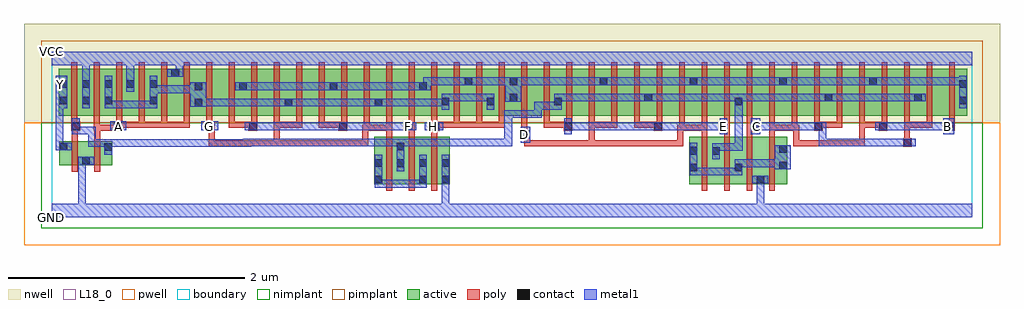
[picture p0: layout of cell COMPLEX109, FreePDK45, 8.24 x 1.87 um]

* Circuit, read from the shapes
.subckt COMPLEX109 A B C D E F G GND H VCC Y
M1 GND n1 Y VSUBS nfet w=0.2u l=0.05u
M2 n1 A GND VSUBS nfet w=0.2u l=0.05u
M3 n1 G n2 VSUBS nfet w=0.4u l=0.05u
M4 n2 F n1 VSUBS nfet w=0.4u l=0.05u
M5 GND H n2 VSUBS nfet w=0.4u l=0.05u
M6 n1 D n3 VSUBS nfet w=0.4u l=0.05u
M7 n3 E n1 VSUBS nfet w=0.4u l=0.05u
M8 GND C n3 VSUBS nfet w=0.4u l=0.05u
M9 n3 B GND VSUBS nfet w=0.4u l=0.05u
M10 VCC n1 Y n4 pfet w=0.4u l=0.05u
M11 n5 A VCC n4 pfet w=0.4u l=0.05u m=5
M12 n6 G n5 n4 pfet w=0.4u l=0.05u
M13 n7 F n6 n4 pfet w=0.4u l=0.05u
M14 n8 F n7 n4 pfet w=0.4u l=0.05u
M15 n5 G n8 n4 pfet w=0.4u l=0.05u
M16 n9 G n5 n4 pfet w=0.4u l=0.05u
M17 n7 F n9 n4 pfet w=0.4u l=0.05u
M18 n10 F n7 n4 pfet w=0.4u l=0.05u
M19 n5 G n10 n4 pfet w=0.4u l=0.05u
M20 n11 G n5 n4 pfet w=0.4u l=0.05u
M21 n7 F n11 n4 pfet w=0.4u l=0.05u
M22 n5 H n7 n4 pfet w=0.4u l=0.05u m=4
M23 n12 D n7 n4 pfet w=0.4u l=0.05u
M24 n1 E n12 n4 pfet w=0.4u l=0.05u
M25 n13 E n1 n4 pfet w=0.4u l=0.05u
M26 n7 D n13 n4 pfet w=0.4u l=0.05u
M27 n14 D n7 n4 pfet w=0.4u l=0.05u
M28 n1 E n14 n4 pfet w=0.4u l=0.05u
M29 n15 E n1 n4 pfet w=0.4u l=0.05u
M30 n7 D n15 n4 pfet w=0.4u l=0.05u
M31 n16 D n7 n4 pfet w=0.4u l=0.05u
M32 n1 E n16 n4 pfet w=0.4u l=0.05u
M33 n17 C n1 n4 pfet w=0.4u l=0.05u
M34 n7 B n17 n4 pfet w=0.4u l=0.05u
M35 n18 B n7 n4 pfet w=0.4u l=0.05u
M36 n1 C n18 n4 pfet w=0.4u l=0.05u
M37 n19 C n1 n4 pfet w=0.4u l=0.05u
M38 n7 B n19 n4 pfet w=0.4u l=0.05u
M39 n20 B n7 n4 pfet w=0.4u l=0.05u
M40 n1 C n20 n4 pfet w=0.4u l=0.05u
M41 n21 C n1 n4 pfet w=0.4u l=0.05u
M42 n7 B n21 n4 pfet w=0.4u l=0.05u
.ends

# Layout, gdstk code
import gdstk
lib = gdstk.Library(unit=1e-6, precision=1e-09)
def R(c, l, rs):  # rectangles x0, y0, x1, y1
    for r in rs: c.add(gdstk.rectangle(r[:2], r[2:], *l))
def A(c, l, x, y, w, h, nx, ny, dx, dy):  # array of equal rectangles
    R(c, l, [(x+i*dx, y+j*dy, x+i*dx+w, y+j*dy+h) for i in range(nx) for j in range(ny)])
active = (1, 0)
pwell = (2, 0)
nwell = (3, 0)
nimplant = (4, 0)
pimplant = (5, 0)
poly = (9, 0)
contact = (10, 0)
metal1 = (11, 0)
L18_0 = (18, 0)
boundary = (235, 0)

complex109 = lib.new_cell('COMPLEX109')
A(complex109, active, 0.06, 0.857, 0.075, 0.343, 4, 1, 0.38, 0)
A(complex109, active, 1.805, 0.857, 0.23, 0.4, 3, 1, 0.38, 0)
A(complex109, active, 1.96, 0.857, 0.225, 0.4, 3, 1, 0.38, 0)
A(complex109, active, 6.135, 0.857, 0.075, 0.343, 3, 1, 0.76, 0)
A(complex109, active, 6.745, 0.857, 0.225, 0.4, 3, 1, 0.38, 0)
R(complex109, active, [(2.72,0.282,2.98,0.682), (2.72,0.282,2.795,0.68), (2.905,0.282,3.17,0.682), (3.095,0.282,3.36,0.682), (3.095,0.282,3.17,0.597), (3.285,0.282,3.36,0.597), (5.38,0.282,5.455,0.682), (5.38,0.282,5.645,0.682), (5.57,0.282,5.835,0.682), (5.76,0.282,5.835,0.492), (5.76,0.282,6.02,0.682), (5.945,0.282,6.21,0.682), (5.945,0.282,6.02,0.492), (6.135,0.282,6.21,0.682), (2.905,0.345,2.98,0.635), (5.57,0.345,5.645,0.597), (0.062,0.442,0.137,0.642), (0.062,0.442,0.327,0.642), (0.252,0.442,0.512,0.642), (0.252,0.442,0.327,0.517), (0.437,0.442,0.512,0.642), (0.06,0.857,0.325,1.257), (0.25,0.857,0.515,1.257), (0.25,0.857,0.325,1.255), (0.44,0.857,0.7,1.257), (0.625,0.857,0.7,1.255), (0.625,0.857,0.895,1.257), (0.82,0.857,1.08,1.257), (1.005,0.857,1.08,1.257), (1.005,0.857,1.275,1.257), (1.2,0.857,1.425,1.257), (1.425,0.857,1.652,1.257), (1.577,0.857,1.652,1.2), (1.577,0.857,1.805,1.257), (1.96,0.857,2.035,1.07), (2.34,0.857,2.415,1.2), (2.72,0.857,2.795,1.07), (2.945,0.857,3.17,1.257), (3.095,0.857,3.36,1.257), (3.095,0.857,3.17,1.2), (3.285,0.857,3.36,1.07), (3.285,0.857,3.555,1.257), (3.48,0.857,3.74,1.257), (3.48,0.857,3.555,1.2), (3.665,0.857,3.74,1.07), (3.665,0.857,3.935,1.257), (3.86,0.857,3.935,1.2), (3.86,0.857,4.085,1.257), (4.085,0.857,4.31,1.257), (4.235,0.857,4.465,1.257), (4.235,0.857,4.31,1.07), (4.465,0.857,4.695,1.257), (4.62,0.857,4.845,1.257), (4.845,0.857,5.072,1.257), (4.997,0.857,5.072,1.07), (4.997,0.857,5.225,1.257), (5.225,0.857,5.455,1.257), (5.38,0.857,5.455,1.2), (5.38,0.857,5.605,1.257), (5.605,0.857,5.835,1.257), (5.76,0.857,5.985,1.257), (5.76,0.857,5.835,1.07), (5.985,0.857,6.21,1.257), (6.135,0.857,6.365,1.257), (6.365,0.857,6.595,1.257), (6.52,0.857,6.745,1.257), (6.52,0.857,6.595,1.07), (6.895,0.857,7.125,1.257), (7.275,0.857,7.505,1.257), (7.275,0.857,7.35,1.07), (4.62,0.907,4.695,1.2)])
R(complex109, pwell, [(-0.235,-0.235,8.005,0.8)])
R(complex109, nwell, [(-0.235,0.8,8.005,1.635)])
R(complex109, nimplant, [(-0.09,-0.09,7.86,0.8)])
R(complex109, pimplant, [(-0.09,0.8,7.86,1.49)])
A(complex109, poly, 2.825, 0.227, 0.05, 0.51, 3, 1, 0.19, 0)
A(complex109, poly, 5.485, 0.227, 0.05, 0.51, 4, 1, 0.19, 0)
A(complex109, poly, 2.825, 0.687, 0.05, 0.095, 3, 1, 0.19, 0)
A(complex109, poly, 5.485, 0.687, 0.05, 0.095, 4, 1, 0.19, 0)
A(complex109, poly, 0.545, 0.757, 0.05, 0.095, 11, 1, 0.19, 0)
A(complex109, poly, 1.875, 0.757, 0.05, 0.05, 3, 1, 0.19, 0)
A(complex109, poly, 3.015, 0.757, 0.05, 0.095, 5, 1, 0.19, 0)
A(complex109, poly, 4.155, 0.757, 0.05, 0.095, 6, 1, 0.19, 0)
A(complex109, poly, 6.435, 0.757, 0.05, 0.095, 7, 1, 0.19, 0)
A(complex109, poly, 0.165, 0.802, 0.05, 0.51, 40, 1, 0.19, 0)
R(complex109, poly, [(0.167,0.387,0.217,0.697), (0.357,0.387,0.407,0.697), (7.187,0.595,7.262,0.67), (1.325,0.6,1.375,0.65), (1.325,0.6,1.375,0.65), (1.325,0.6,1.375,0.65), (1.325,0.6,1.375,0.65), (1.325,0.6,1.375,0.65), (1.325,0.6,1.375,0.782), (1.325,0.6,1.577,0.65), (1.527,0.6,1.577,0.65), (1.527,0.6,1.577,0.65), (1.527,0.6,1.577,0.65), (1.527,0.6,1.792,0.65), (1.742,0.6,1.792,0.65), (1.742,0.6,1.792,0.65), (1.742,0.6,1.792,0.65), (1.742,0.6,1.925,0.65), (1.875,0.6,1.925,0.65), (1.875,0.6,1.925,0.65), (1.875,0.6,1.925,0.65), (1.875,0.6,1.925,0.65), (1.875,0.6,1.925,0.65), (1.875,0.6,1.925,0.807), (1.875,0.6,2.057,0.65), (2.007,0.6,2.057,0.65), (2.007,0.6,2.057,0.65), (2.007,0.6,2.057,0.65), (2.007,0.6,2.337,0.65), (2.287,0.6,2.337,0.65), (2.287,0.6,2.337,0.65), (2.287,0.6,2.337,0.65), (2.287,0.6,2.537,0.65), (2.487,0.6,2.537,0.65), (2.487,0.6,2.67,0.65), (2.62,0.6,2.67,0.65), (2.62,0.6,2.67,0.65), (2.62,0.6,2.67,0.65), (2.62,0.6,2.67,0.65), (2.62,0.6,2.67,0.65), (2.62,0.6,2.67,0.782), (3.99,0.6,4.04,0.65), (3.99,0.6,4.04,0.65), (3.99,0.6,4.04,0.65), (3.99,0.6,4.04,0.65), (3.99,0.6,4.04,0.65), (3.99,0.6,4.237,0.65), (3.99,0.6,4.04,0.712), (4.187,0.6,4.237,0.65), (4.187,0.6,4.237,0.65), (4.187,0.6,4.237,0.65), (4.187,0.6,4.452,0.65), (4.402,0.6,4.452,0.65), (4.402,0.6,4.585,0.65), (4.535,0.6,4.585,0.65), (4.535,0.6,4.585,0.65), (4.535,0.6,4.585,0.65), (4.535,0.6,4.585,0.65), (4.535,0.6,4.585,0.65), (4.535,0.6,4.585,0.807), (4.535,0.6,4.717,0.65), (4.667,0.6,4.907,0.65), (4.667,0.6,4.717,0.65), (4.667,0.6,4.717,0.65), (4.667,0.6,4.717,0.65), (4.857,0.6,5.097,0.65), (4.857,0.6,4.907,0.65), (4.857,0.6,4.907,0.65), (4.857,0.6,4.907,0.65), (5.047,0.6,5.097,0.65), (5.047,0.6,5.097,0.65), (5.047,0.6,5.097,0.65), (5.047,0.6,5.33,0.65), (5.28,0.6,5.33,0.65), (5.28,0.6,5.33,0.65), (5.28,0.6,5.33,0.65), (5.28,0.6,5.33,0.782), (6.26,0.6,6.31,0.65), (6.26,0.6,6.31,0.65), (6.26,0.6,6.31,0.65), (6.26,0.6,6.542,0.65), (6.26,0.6,6.31,0.782), (6.492,0.6,6.732,0.65), (6.492,0.6,6.542,0.65), (6.492,0.6,6.542,0.65), (6.492,0.6,6.542,0.65), (6.682,0.6,6.732,0.65), (6.682,0.6,6.732,0.65), (6.682,0.6,6.732,0.65), (6.682,0.6,6.865,0.65), (6.815,0.6,6.865,0.65), (6.815,0.6,6.865,0.65), (6.815,0.6,6.865,0.65), (6.815,0.6,6.865,0.807), (7.195,0.62,7.245,0.807), (0.167,0.647,0.217,0.782), (0.357,0.647,0.407,0.782), (3.965,0.662,4.04,0.737), (3.965,0.687,4.015,0.852), (0.165,0.732,0.24,0.807), (0.355,0.732,0.405,0.852), (0.355,0.732,0.407,0.782), (0.357,0.732,0.407,0.782), (0.357,0.732,0.407,0.782), (0.357,0.732,0.572,0.782), (0.522,0.732,0.597,0.807), (1.3,0.732,1.375,0.807), (1.66,0.732,1.735,0.807), (2.42,0.732,2.495,0.807), (2.62,0.732,2.685,0.782), (2.635,0.732,2.875,0.782), (2.635,0.732,2.685,0.852), (2.825,0.732,2.875,0.782), (2.825,0.732,2.875,0.782), (2.825,0.732,2.875,0.782), (2.825,0.732,2.875,0.852), (2.972,0.732,3.065,0.807), (3.2,0.732,3.275,0.807), (4.32,0.732,4.395,0.807), (5.08,0.732,5.155,0.807), (5.28,0.732,5.33,0.782), (5.28,0.732,5.33,0.782), (5.28,0.732,5.345,0.782), (5.295,0.732,5.535,0.782), (5.295,0.732,5.345,0.852), (5.485,0.732,5.535,0.782), (5.485,0.732,5.535,0.782), (5.485,0.732,5.535,0.782), (5.485,0.732,5.535,0.852), (5.632,0.732,5.725,0.807), (5.865,0.732,5.972,0.807), (6.055,0.732,6.295,0.782), (6.055,0.732,6.105,0.782), (6.055,0.732,6.105,0.782), (6.055,0.732,6.105,0.782), (6.055,0.732,6.105,0.852), (6.245,0.732,6.295,0.852), (6.245,0.732,6.31,0.782), (6.26,0.732,6.31,0.782), (6.26,0.732,6.31,0.782), (6.435,0.732,6.51,0.807), (6.98,0.732,7.055,0.807), (7.55,0.732,7.625,0.807), (0.165,0.757,0.215,0.852), (0.547,0.757,0.597,0.807), (0.547,0.757,0.597,0.807), (0.547,0.757,0.785,0.807), (0.735,0.757,0.975,0.807), (0.735,0.757,0.785,0.807), (0.925,0.757,1.165,0.807), (0.925,0.757,0.975,0.807), (0.925,0.757,0.975,0.807), (0.925,0.757,0.975,0.807), (1.115,0.757,1.165,0.807), (1.115,0.757,1.165,0.807), (1.115,0.757,1.165,0.807), (1.495,0.757,1.545,0.807), (1.495,0.757,1.545,0.807), (1.495,0.757,1.545,0.807), (1.495,0.757,1.71,0.807), (1.875,0.757,2.115,0.807), (1.875,0.757,1.925,0.807), (1.875,0.757,1.925,0.807), (2.255,0.757,2.305,0.807), (2.255,0.757,2.305,0.807), (2.255,0.757,2.47,0.807), (3.225,0.757,3.275,0.807), (3.225,0.757,3.275,0.807), (3.225,0.757,3.445,0.807), (3.395,0.757,3.635,0.807), (3.395,0.757,3.445,0.807), (3.585,0.757,3.825,0.807), (3.585,0.757,3.635,0.807), (3.585,0.757,3.635,0.807), (3.585,0.757,3.635,0.807), (3.775,0.757,3.825,0.807), (3.775,0.757,3.825,0.807), (3.775,0.757,3.825,0.807), (4.155,0.757,4.205,0.807), (4.155,0.757,4.205,0.807), (4.155,0.757,4.205,0.807), (4.155,0.757,4.37,0.807), (4.535,0.757,4.775,0.807), (4.535,0.757,4.585,0.807), (4.725,0.757,4.775,0.807), (4.725,0.757,4.775,0.807), (4.725,0.757,4.775,0.807), (4.915,0.757,4.965,0.807), (4.915,0.757,5.13,0.807), (5.08,0.757,5.13,0.807), (5.08,0.757,5.13,0.807), (5.675,0.757,5.725,0.852), (5.865,0.757,5.915,0.852), (6.46,0.757,6.51,0.807), (6.46,0.757,6.51,0.807), (6.46,0.757,6.675,0.807), (6.625,0.757,6.675,0.807), (6.815,0.757,6.865,0.807), (6.815,0.757,7.03,0.807), (6.98,0.757,7.03,0.807), (6.98,0.757,7.03,0.807), (7.195,0.757,7.435,0.807), (7.195,0.757,7.245,0.807), (7.195,0.757,7.245,0.807), (7.195,0.757,7.245,0.807), (7.195,0.757,7.245,0.807), (7.195,0.757,7.245,0.807), (7.385,0.757,7.435,0.807)])
A(complex109, contact, 0.065, 0.955, 0.065, 0.065, 3, 2, 0.19, 0.14)
A(complex109, contact, 3.865, 1.117, 0.065, 0.065, 3, 1, 0.76, 0)
R(complex109, contact, [(2.725,0.287,2.79,0.352), (3.1,0.287,3.165,0.352), (3.29,0.287,3.355,0.352), (5.95,0.287,6.015,0.352), (5.385,0.39,5.45,0.455), (5.765,0.39,5.83,0.455), (6.14,0.405,6.205,0.47), (2.91,0.425,2.975,0.49), (2.725,0.427,2.79,0.492), (3.1,0.427,3.165,0.492), (3.29,0.427,3.355,0.492), (0.257,0.447,0.322,0.512), (5.575,0.527,5.64,0.592), (5.385,0.53,5.45,0.595), (6.14,0.545,6.205,0.61), (0.442,0.562,0.507,0.627), (0.067,0.565,0.132,0.63), (2.91,0.565,2.975,0.63), (7.192,0.6,7.257,0.665), (3.97,0.667,4.035,0.732), (0.17,0.737,0.235,0.802), (0.527,0.737,0.592,0.802), (1.305,0.737,1.37,0.802), (1.665,0.737,1.73,0.802), (2.425,0.737,2.49,0.802), (2.977,0.737,3.042,0.802), (3.205,0.737,3.27,0.802), (4.325,0.737,4.39,0.802), (5.085,0.737,5.15,0.802), (5.637,0.737,5.702,0.802), (5.902,0.737,5.967,0.802), (6.44,0.737,6.505,0.802), (6.985,0.737,7.05,0.802), (7.555,0.737,7.62,0.802), (1.205,0.935,1.27,1), (1.965,0.937,2.03,1.002), (2.725,0.937,2.79,1.002), (3.29,0.945,3.355,1.01), (3.67,0.945,3.735,1.01), (4.24,0.945,4.305,1.01), (5.765,0.945,5.83,1.01), (0.825,0.955,0.89,1.02), (7.66,0.955,7.725,1.02), (3.865,0.977,3.93,1.042), (5.002,0.98,5.067,1.045), (6.525,0.98,6.59,1.045), (7.28,0.98,7.345,1.045), (1.205,1.075,1.27,1.14), (1.582,1.075,1.647,1.14), (2.345,1.075,2.41,1.14), (3.1,1.075,3.165,1.14), (0.63,1.095,0.695,1.16), (0.825,1.095,0.89,1.16), (7.66,1.095,7.725,1.16), (3.485,1.117,3.55,1.182), (6.14,1.117,6.205,1.182), (6.9,1.117,6.965,1.182), (1.01,1.187,1.075,1.252)])
R(complex109, metal1, [(0,0,7.77,0.115), (0.222,0.05,0.287,0.115), (0.222,0.05,0.287,0.115), (0.222,0.05,0.287,0.51), (3.29,0.05,3.355,0.115), (3.29,0.05,3.355,0.115), (3.29,0.05,3.355,0.115), (3.29,0.05,3.355,0.115), (3.29,0.05,3.355,0.317), (5.95,0.05,6.015,0.352), (2.725,0.252,2.79,0.527), (2.725,0.252,2.8,0.317), (2.735,0.252,2.8,0.317), (2.735,0.252,2.97,0.317), (2.905,0.252,2.97,0.317), (2.905,0.252,2.97,0.317), (2.905,0.252,2.97,0.317), (2.905,0.252,3.165,0.317), (3.1,0.252,3.165,0.527), (3.29,0.252,3.355,0.527), (5.915,0.287,6.05,0.352), (5.95,0.287,6.015,0.352), (5.95,0.287,6.015,0.352), (5.95,0.287,6.015,0.352), (5.95,0.287,6.015,0.352), (5.385,0.355,5.45,0.63), (5.385,0.355,5.485,0.42), (5.42,0.355,5.485,0.42), (5.42,0.355,5.622,0.42), (5.557,0.355,5.622,0.42), (5.557,0.355,5.622,0.42), (5.557,0.355,5.622,0.42), (5.557,0.355,5.83,0.42), (5.765,0.355,5.83,0.49), (2.91,0.39,2.975,0.665), (6.105,0.405,6.24,0.61), (5.765,0.425,5.915,0.49), (5.85,0.425,5.915,0.49), (5.85,0.425,5.97,0.49), (5.905,0.425,5.97,0.49), (5.905,0.425,6.17,0.49), (6.105,0.425,6.17,0.49), (6.105,0.425,6.17,0.49), (0.222,0.445,0.287,0.51), (0.222,0.445,0.287,0.51), (0.222,0.445,0.287,0.51), (0.222,0.445,0.287,0.51), (0.222,0.445,0.287,0.51), (0.222,0.445,0.287,0.51), (0.222,0.445,0.357,0.512), (5.575,0.492,5.64,0.627), (0.442,0.527,0.51,0.662), (5.575,0.562,5.64,0.627), (5.575,0.562,5.64,0.627), (5.575,0.562,5.832,0.627), (5.767,0.562,5.832,0.627), (5.767,0.562,5.832,0.627), (5.767,0.562,5.832,0.627), (5.767,0.562,5.832,0.975), (0.032,0.565,0.097,0.63), (0.032,0.565,0.097,0.63), (0.032,0.565,0.097,0.63), (0.032,0.565,0.097,0.63), (0.032,0.565,0.097,0.63), (0.032,0.565,0.097,0.63), (0.032,0.565,0.167,0.63), (0.032,0.565,0.097,0.985), (0.307,0.597,0.507,0.662), (0.307,0.597,0.372,0.767), (0.445,0.597,0.51,0.662), (0.445,0.597,0.51,0.662), (0.445,0.597,0.752,0.662), (0.687,0.597,0.752,0.662), (0.687,0.597,0.752,0.662), (0.687,0.597,0.752,0.662), (0.687,0.597,0.902,0.662), (0.837,0.597,0.902,0.662), (0.837,0.597,0.902,0.662), (0.837,0.597,0.902,0.662), (0.837,0.597,1.097,0.662), (1.032,0.597,1.097,0.662), (1.032,0.597,1.097,0.662), (1.032,0.597,1.097,0.662), (1.032,0.597,1.337,0.662), (1.272,0.597,1.337,0.662), (1.272,0.597,1.337,0.662), (1.272,0.597,1.337,0.662), (1.272,0.597,1.475,0.662), (1.41,0.597,1.475,0.662), (1.41,0.597,1.475,0.662), (1.41,0.597,1.475,0.662), (1.41,0.597,1.475,0.662), (1.41,0.597,1.475,0.662), (1.41,0.597,1.682,0.662), (1.617,0.597,1.682,0.665), (1.617,0.6,1.857,0.665), (1.792,0.6,1.857,0.665), (1.792,0.6,1.857,0.665), (1.792,0.6,1.857,0.665), (1.792,0.6,1.995,0.665), (1.93,0.6,1.995,0.665), (1.93,0.6,1.995,0.665), (1.93,0.6,1.995,0.665), (1.93,0.6,2.132,0.665), (2.067,0.6,2.132,0.665), (2.067,0.6,2.237,0.665), (2.172,0.6,2.237,0.665), (2.172,0.6,2.307,0.665), (2.242,0.6,2.307,0.665), (2.242,0.6,2.445,0.665), (2.38,0.6,2.445,0.665), (2.38,0.6,2.445,0.665), (2.38,0.6,2.445,0.665), (2.38,0.6,2.592,0.665), (2.527,0.6,2.592,0.665), (2.527,0.6,2.662,0.665), (2.597,0.6,2.662,0.665), (2.597,0.6,2.8,0.665), (2.735,0.6,2.8,0.665), (2.735,0.6,2.8,0.665), (2.735,0.6,2.8,0.665), (2.735,0.6,2.975,0.665), (2.91,0.6,2.975,0.665), (2.91,0.6,2.975,0.665), (2.91,0.6,3.115,0.665), (3.05,0.6,3.115,0.665), (3.05,0.6,3.115,0.665), (3.05,0.6,3.115,0.665), (3.05,0.6,3.355,0.665), (3.29,0.6,3.355,0.665), (3.29,0.6,3.355,0.665), (3.29,0.6,3.355,0.665), (3.29,0.6,3.492,0.665), (3.427,0.6,3.492,0.665), (3.427,0.6,3.492,0.665), (3.427,0.6,3.492,0.665), (3.427,0.6,3.722,0.665), (3.657,0.6,3.722,0.665), (3.657,0.6,3.722,0.665), (3.657,0.6,3.722,0.665), (3.657,0.6,3.885,0.665), (3.82,0.6,3.885,0.665), (3.82,0.6,3.885,0.665), (3.82,0.6,3.885,0.665), (3.82,0.6,3.885,0.905), (6.475,0.6,6.54,0.665), (6.475,0.6,6.692,0.665), (6.475,0.6,6.54,0.802), (6.627,0.6,6.692,0.665), (6.627,0.6,6.792,0.665), (6.727,0.6,6.792,0.665), (6.727,0.6,6.862,0.665), (6.797,0.6,6.862,0.665), (6.797,0.6,7.02,0.665), (6.955,0.6,7.02,0.665), (6.955,0.6,7.02,0.665), (6.955,0.6,7.02,0.665), (6.955,0.6,7.157,0.665), (7.092,0.6,7.157,0.665), (7.092,0.6,7.157,0.665), (7.092,0.6,7.157,0.665), (7.092,0.6,7.222,0.665), (7.157,0.6,7.292,0.665), (3.957,0.632,4.037,0.767), (0.17,0.702,0.235,0.837), (0.17,0.702,0.37,0.767), (0.305,0.702,0.37,0.767), (0.305,0.702,0.37,0.767), (0.305,0.702,0.37,0.767), (0.305,0.702,0.372,0.767), (4.325,0.702,4.39,0.837), (5.637,0.702,5.702,0.837), (5.902,0.702,5.982,0.837), (7.527,0.702,7.62,0.837), (0.492,0.735,0.627,0.812), (1.262,0.737,1.405,0.81), (1.63,0.737,1.765,0.802), (1.7,0.737,1.825,0.802), (1.76,0.737,1.825,0.802), (1.76,0.737,1.995,0.802), (1.93,0.737,1.995,0.802), (1.93,0.737,1.995,0.802), (1.93,0.737,1.995,0.802), (1.93,0.737,2.132,0.802), (2.067,0.737,2.132,0.802), (2.067,0.737,2.237,0.802), (2.172,0.737,2.237,0.802), (2.172,0.737,2.307,0.802), (2.242,0.737,2.307,0.802), (2.242,0.737,2.455,0.802), (2.39,0.737,2.455,0.802), (2.39,0.737,2.455,0.802), (2.39,0.737,2.525,0.802), (2.46,0.737,2.617,0.802), (2.552,0.737,2.617,0.802), (2.552,0.737,2.662,0.802), (2.597,0.737,2.662,0.802), (2.597,0.737,2.832,0.802), (2.767,0.737,2.832,0.802), (2.767,0.737,2.832,0.802), (2.767,0.737,2.832,0.802), (2.767,0.737,2.977,0.802), (2.912,0.737,2.977,0.802), (2.912,0.737,3.007,0.802), (2.942,0.737,3.077,0.802), (3.15,0.737,3.305,0.802), (4.325,0.737,4.482,0.802), (4.417,0.737,4.482,0.802), (4.417,0.737,4.62,0.802), (4.555,0.737,4.62,0.802), (4.555,0.737,4.62,0.802), (4.555,0.737,4.62,0.802), (4.555,0.737,4.757,0.802), (4.692,0.737,4.757,0.802), (4.692,0.737,4.895,0.802), (4.83,0.737,4.895,0.802), (4.83,0.737,4.895,0.802), (4.83,0.737,4.895,0.802), (4.83,0.737,5.115,0.802), (5.05,0.737,5.115,0.802), (5.05,0.737,5.115,0.802), (5.05,0.737,5.185,0.802), (5.12,0.737,5.252,0.802), (5.187,0.737,5.252,0.802), (5.187,0.737,5.347,0.802), (5.282,0.737,5.347,0.802), (5.282,0.737,5.39,0.802), (5.325,0.737,5.39,0.802), (5.325,0.737,5.485,0.802), (5.42,0.737,5.485,0.802), (5.42,0.737,5.622,0.802), (5.557,0.737,5.622,0.802), (5.557,0.737,5.702,0.802), (5.917,0.737,5.982,0.802), (5.917,0.737,5.982,0.802), (5.917,0.737,6.12,0.802), (6.055,0.737,6.12,0.802), (6.055,0.737,6.12,0.802), (6.055,0.737,6.12,0.802), (6.055,0.737,6.307,0.802), (6.242,0.737,6.307,0.802), (6.242,0.737,6.377,0.802), (6.312,0.737,6.377,0.802), (6.312,0.737,6.47,0.802), (6.405,0.737,6.54,0.802), (6.475,0.737,6.54,0.802), (6.475,0.737,6.54,0.802), (6.95,0.737,7.085,0.802), (7.02,0.737,7.157,0.802), (7.092,0.737,7.157,0.802), (7.092,0.737,7.295,0.802), (7.23,0.737,7.295,0.802), (7.23,0.737,7.295,0.802), (7.23,0.737,7.295,0.802), (7.23,0.737,7.455,0.802), (7.39,0.737,7.455,0.802), (7.39,0.737,7.455,0.802), (7.39,0.737,7.455,0.802), (7.39,0.737,7.592,0.802), (3.82,0.84,3.885,0.905), (3.82,0.84,3.885,0.905), (3.82,0.84,3.885,0.905), (3.82,0.84,3.885,0.905), (3.82,0.84,3.885,0.905), (3.82,0.84,4.137,0.905), (4.072,0.84,4.137,0.905), (4.072,0.84,4.137,0.905), (4.072,0.84,4.137,0.975), (3.29,0.91,3.355,1.045), (3.67,0.91,3.735,1.045), (4.072,0.91,4.305,0.975), (4.24,0.91,4.305,1.045), (5.765,0.91,5.832,1.045), (0.032,0.92,0.13,1.195), (0.255,0.92,0.32,1.195), (0.445,0.92,0.51,0.985), (0.445,0.92,0.51,0.985), (0.445,0.92,0.51,1.195), (0.445,0.92,0.752,0.985), (0.687,0.92,0.752,0.985), (0.687,0.92,0.752,0.985), (0.687,0.92,0.752,0.985), (0.687,0.92,0.89,0.985), (0.825,0.92,0.89,1.195), (7.66,0.92,7.725,1.195), (1.17,0.935,1.305,1.14), (1.24,0.937,1.305,1.002), (1.24,0.937,1.305,1.002), (1.24,0.937,1.475,1.002), (1.41,0.937,1.475,1.002), (1.41,0.937,1.475,1.002), (1.41,0.937,1.475,1.002), (1.41,0.937,1.682,1.002), (1.617,0.937,1.682,1.002), (1.617,0.937,1.682,1.002), (1.617,0.937,1.682,1.002), (1.617,0.937,1.82,1.002), (1.755,0.937,1.82,1.002), (1.755,0.937,1.995,1.002), (1.93,0.937,1.995,1.002), (1.93,0.937,1.995,1.002), (1.93,0.937,2.065,1.002), (2,0.937,2.132,1.002), (2.067,0.937,2.132,1.002), (2.067,0.937,2.202,1.002), (2.137,0.937,2.202,1.002), (2.137,0.937,2.307,1.002), (2.242,0.937,2.307,1.002), (2.242,0.937,2.445,1.002), (2.38,0.937,2.445,1.002), (2.38,0.937,2.445,1.002), (2.38,0.937,2.445,1.002), (2.38,0.937,2.592,1.002), (2.527,0.937,2.592,1.002), (2.527,0.937,2.662,1.002), (2.597,0.937,2.662,1.002), (2.597,0.937,2.755,1.002), (2.69,0.937,2.825,1.002), (2.76,0.937,2.825,1.002), (2.76,0.937,2.825,1.002), (2.76,0.937,2.97,1.002), (2.905,0.937,2.97,1.002), (2.905,0.937,2.97,1.002), (2.905,0.937,2.97,1.002), (2.905,0.937,3.115,1.002), (3.05,0.937,3.115,1.002), (3.05,0.937,3.115,1.002), (3.05,0.937,3.115,1.002), (3.05,0.937,3.355,1.002), (3.83,0.977,3.965,1.182), (3.29,0.98,3.355,1.045), (3.29,0.98,3.355,1.045), (3.29,0.98,3.492,1.045), (3.427,0.98,3.492,1.045), (3.427,0.98,3.492,1.045), (3.427,0.98,3.492,1.045), (3.427,0.98,3.735,1.045), (4.24,0.98,4.305,1.045), (4.24,0.98,4.305,1.045), (4.24,0.98,4.442,1.045), (4.377,0.98,4.442,1.045), (4.377,0.98,4.62,1.045), (4.555,0.98,4.62,1.045), (4.555,0.98,4.62,1.045), (4.555,0.98,4.62,1.045), (4.555,0.98,4.757,1.045), (4.692,0.98,4.757,1.045), (4.692,0.98,4.895,1.045), (4.83,0.98,4.895,1.045), (4.83,0.98,4.895,1.045), (4.83,0.98,4.895,1.045), (4.83,0.98,5.032,1.045), (4.967,0.98,5.102,1.045), (5.037,0.98,5.102,1.045), (5.037,0.98,5.102,1.045), (5.037,0.98,5.252,1.045), (5.187,0.98,5.252,1.045), (5.187,0.98,5.347,1.045), (5.282,0.98,5.347,1.045), (5.282,0.98,5.485,1.045), (5.42,0.98,5.485,1.045), (5.42,0.98,5.485,1.045), (5.42,0.98,5.485,1.045), (5.42,0.98,5.622,1.045), (5.557,0.98,5.622,1.045), (5.557,0.98,5.622,1.045), (5.557,0.98,5.622,1.045), (5.557,0.98,5.83,1.045), (5.767,0.98,5.97,1.045), (5.905,0.98,5.97,1.045), (5.905,0.98,5.97,1.045), (5.905,0.98,5.97,1.045), (5.905,0.98,5.97,1.045), (5.905,0.98,5.97,1.045), (5.905,0.98,6.17,1.045), (6.105,0.98,6.17,1.045), (6.105,0.98,6.17,1.045), (6.105,0.98,6.17,1.045), (6.105,0.98,6.307,1.045), (6.242,0.98,6.307,1.045), (6.242,0.98,6.402,1.045), (6.337,0.98,6.402,1.045), (6.337,0.98,6.555,1.045), (6.49,0.98,6.555,1.045), (6.49,0.98,6.555,1.045), (6.49,0.98,6.625,1.045), (6.56,0.98,6.692,1.045), (6.627,0.98,6.692,1.045), (6.627,0.98,6.762,1.045), (6.697,0.98,6.762,1.045), (6.697,0.98,6.862,1.045), (6.797,0.98,6.862,1.045), (6.797,0.98,7.02,1.045), (6.955,0.98,7.02,1.045), (6.955,0.98,7.02,1.045), (6.955,0.98,7.02,1.045), (6.955,0.98,7.157,1.045), (7.092,0.98,7.157,1.045), (7.092,0.98,7.31,1.045), (7.245,0.98,7.31,1.045), (7.245,0.98,7.31,1.045), (7.245,0.98,7.38,1.045), (0.825,1.05,0.89,1.115), (0.825,1.05,0.89,1.115), (0.825,1.05,1.097,1.115), (1.032,1.05,1.097,1.115), (1.032,1.05,1.097,1.115), (1.032,1.05,1.097,1.115), (1.032,1.05,1.235,1.115), (0.63,1.06,0.695,1.195), (1.547,1.075,1.682,1.14), (1.617,1.075,1.682,1.14), (1.617,1.075,1.682,1.14), (1.617,1.075,1.857,1.14), (1.792,1.075,1.857,1.14), (1.792,1.075,1.995,1.14), (1.93,1.075,1.995,1.14), (1.93,1.075,1.995,1.14), (1.93,1.075,1.995,1.14), (1.93,1.075,2.132,1.14), (2.067,1.075,2.132,1.14), (2.067,1.075,2.202,1.14), (2.137,1.075,2.202,1.14), (2.137,1.075,2.27,1.14), (2.205,1.075,2.27,1.14), (2.205,1.075,2.375,1.14), (2.31,1.075,2.445,1.14), (2.38,1.075,2.445,1.14), (2.38,1.075,2.445,1.14), (2.38,1.075,2.617,1.14), (2.552,1.075,2.617,1.14), (2.552,1.075,2.662,1.14), (2.597,1.075,2.662,1.14), (2.597,1.075,2.8,1.14), (2.735,1.075,2.8,1.14), (2.735,1.075,2.8,1.14), (2.735,1.075,2.8,1.14), (2.735,1.075,2.97,1.14), (2.905,1.075,2.97,1.14), (2.905,1.075,2.97,1.14), (2.905,1.075,2.97,1.14), (2.905,1.075,3.13,1.14), (3.065,1.075,3.2,1.14), (3.135,1.075,3.2,1.14), (3.135,1.075,3.2,1.182), (3.135,1.117,3.355,1.182), (3.29,1.117,3.355,1.182), (3.29,1.117,3.355,1.182), (3.29,1.117,3.355,1.182), (3.29,1.117,3.515,1.182), (3.45,1.117,3.585,1.182), (3.52,1.117,3.585,1.182), (3.52,1.117,3.585,1.182), (3.52,1.117,3.747,1.182), (3.682,1.117,3.747,1.182), (3.682,1.117,3.747,1.182), (3.682,1.117,3.747,1.182), (3.682,1.117,3.895,1.182), (3.9,1.117,3.965,1.182), (3.9,1.117,3.965,1.182), (3.9,1.117,4.102,1.182), (4.037,1.117,4.102,1.182), (4.037,1.117,4.102,1.182), (4.037,1.117,4.102,1.182), (4.037,1.117,4.305,1.182), (4.24,1.117,4.305,1.182), (4.24,1.117,4.442,1.182), (4.377,1.117,4.442,1.182), (4.377,1.117,4.442,1.182), (4.377,1.117,4.442,1.182), (4.377,1.117,4.62,1.182), (4.555,1.117,4.62,1.182), (4.555,1.117,4.655,1.182), (4.59,1.117,4.725,1.182), (4.66,1.117,4.757,1.182), (4.692,1.117,4.757,1.182), (4.692,1.117,4.895,1.182), (4.83,1.117,4.895,1.182), (4.83,1.117,4.895,1.182), (4.83,1.117,4.895,1.182), (4.83,1.117,5.115,1.182), (5.05,1.117,5.115,1.182), (5.05,1.117,5.115,1.182), (5.05,1.117,5.115,1.182), (5.05,1.117,5.252,1.182), (5.187,1.117,5.252,1.182), (5.187,1.117,5.322,1.182), (5.257,1.117,5.322,1.182), (5.257,1.117,5.415,1.182), (5.35,1.117,5.485,1.182), (5.42,1.117,5.485,1.182), (5.42,1.117,5.485,1.182), (5.42,1.117,5.64,1.182), (5.575,1.117,5.64,1.182), (5.575,1.117,5.777,1.182), (5.712,1.117,5.777,1.182), (5.712,1.117,5.777,1.182), (5.712,1.117,5.777,1.182), (5.712,1.117,5.97,1.182), (5.905,1.117,5.97,1.182), (5.905,1.117,5.97,1.182), (5.905,1.117,5.97,1.182), (5.905,1.117,6.17,1.182), (6.105,1.117,6.17,1.182), (6.105,1.117,6.17,1.182), (6.105,1.117,6.24,1.182), (6.175,1.117,6.307,1.182), (6.242,1.117,6.307,1.182), (6.242,1.117,6.402,1.182), (6.337,1.117,6.402,1.182), (6.337,1.117,6.555,1.182), (6.49,1.117,6.555,1.182), (6.49,1.117,6.555,1.182), (6.49,1.117,6.555,1.182), (6.49,1.117,6.692,1.182), (6.627,1.117,6.692,1.182), (6.627,1.117,6.792,1.182), (6.727,1.117,6.792,1.182), (6.727,1.117,6.83,1.182), (6.765,1.117,6.83,1.182), (6.765,1.117,6.93,1.182), (6.865,1.117,7,1.182), (6.935,1.117,7,1.182), (6.935,1.117,7,1.182), (6.935,1.117,7.157,1.182), (7.092,1.117,7.157,1.182), (7.092,1.117,7.295,1.182), (7.23,1.117,7.295,1.182), (7.23,1.117,7.295,1.182), (7.23,1.117,7.295,1.182), (7.23,1.117,7.455,1.182), (7.39,1.117,7.455,1.182), (7.39,1.117,7.455,1.182), (7.39,1.117,7.455,1.182), (7.39,1.117,7.725,1.182), (7.66,1.117,7.725,1.182), (7.66,1.117,7.725,1.182), (0.255,1.13,0.32,1.35), (0.63,1.13,0.695,1.35), (0.975,1.187,1.11,1.252), (1.045,1.187,1.11,1.35), (0,1.285,7.77,1.4)])
R(complex109, L18_0, [(0,0,7.77,0.115), (0.222,0.05,0.287,0.115), (0.222,0.05,0.287,0.115), (0.222,0.05,0.287,0.51), (3.29,0.05,3.355,0.115), (3.29,0.05,3.355,0.115), (3.29,0.05,3.355,0.115), (3.29,0.05,3.355,0.115), (3.29,0.05,3.355,0.317), (5.95,0.05,6.015,0.352), (3.29,0.252,3.355,0.527), (5.915,0.287,6.05,0.352), (5.95,0.287,6.015,0.352), (5.95,0.287,6.015,0.352), (5.95,0.287,6.015,0.352), (5.95,0.287,6.015,0.352), (0.222,0.445,0.287,0.51), (0.222,0.445,0.287,0.51), (0.222,0.445,0.287,0.51), (0.222,0.445,0.287,0.51), (0.222,0.445,0.287,0.51), (0.222,0.445,0.287,0.51), (0.222,0.445,0.357,0.512), (0.032,0.565,0.167,0.63), (0.032,0.565,0.097,0.63), (0.032,0.565,0.097,0.63), (0.032,0.565,0.097,0.63), (0.032,0.565,0.097,0.63), (0.032,0.565,0.097,0.63), (0.032,0.565,0.097,0.63), (0.032,0.565,0.097,0.985), (6.475,0.6,6.54,0.665), (6.475,0.6,6.54,0.802), (6.475,0.6,6.692,0.665), (6.627,0.6,6.692,0.665), (6.627,0.6,6.792,0.665), (6.727,0.6,6.862,0.665), (6.727,0.6,6.792,0.665), (6.797,0.6,6.862,0.665), (6.797,0.6,7.02,0.665), (6.955,0.6,7.02,0.665), (6.955,0.6,7.02,0.665), (6.955,0.6,7.02,0.665), (6.955,0.6,7.157,0.665), (7.092,0.6,7.157,0.665), (7.092,0.6,7.157,0.665), (7.092,0.6,7.157,0.665), (7.092,0.6,7.222,0.665), (7.157,0.6,7.292,0.665), (3.957,0.632,4.037,0.767), (3.957,0.667,4.022,0.732), (4.325,0.702,4.39,0.837), (5.637,0.702,5.702,0.837), (5.902,0.702,5.982,0.837), (7.527,0.702,7.62,0.837), (0.492,0.735,0.627,0.812), (0.527,0.737,0.592,0.802), (1.262,0.737,1.405,0.81), (1.297,0.737,1.362,0.802), (1.63,0.737,1.765,0.802), (1.7,0.737,1.825,0.802), (1.76,0.737,1.825,0.802), (1.76,0.737,1.995,0.802), (1.93,0.737,1.995,0.802), (1.93,0.737,1.995,0.802), (1.93,0.737,1.995,0.802), (1.93,0.737,2.132,0.802), (2.067,0.737,2.132,0.802), (2.067,0.737,2.237,0.802), (2.172,0.737,2.307,0.802), (2.172,0.737,2.237,0.802), (2.242,0.737,2.307,0.802), (2.242,0.737,2.455,0.802), (2.39,0.737,2.525,0.802), (2.39,0.737,2.455,0.802), (2.39,0.737,2.455,0.802), (2.46,0.737,2.617,0.802), (2.552,0.737,2.617,0.802), (2.552,0.737,2.662,0.802), (2.597,0.737,2.662,0.802), (2.597,0.737,2.832,0.802), (2.767,0.737,2.832,0.802), (2.767,0.737,2.832,0.802), (2.767,0.737,2.832,0.802), (2.767,0.737,2.977,0.802), (2.912,0.737,2.977,0.802), (2.912,0.737,3.007,0.802), (2.942,0.737,3.077,0.802), (2.977,0.737,3.042,0.802), (3.15,0.737,3.305,0.802), (3.187,0.737,3.252,0.802), (4.325,0.737,4.482,0.802), (4.417,0.737,4.482,0.802), (4.417,0.737,4.62,0.802), (4.555,0.737,4.62,0.802), (4.555,0.737,4.62,0.802), (4.555,0.737,4.62,0.802), (4.555,0.737,4.757,0.802), (4.692,0.737,4.757,0.802), (4.692,0.737,4.895,0.802), (4.83,0.737,4.895,0.802), (4.83,0.737,4.895,0.802), (4.83,0.737,4.895,0.802), (4.83,0.737,5.115,0.802), (5.05,0.737,5.185,0.802), (5.05,0.737,5.115,0.802), (5.05,0.737,5.115,0.802), (5.12,0.737,5.252,0.802), (5.187,0.737,5.252,0.802), (5.187,0.737,5.347,0.802), (5.282,0.737,5.347,0.802), (5.282,0.737,5.39,0.802), (5.325,0.737,5.39,0.802), (5.325,0.737,5.485,0.802), (5.42,0.737,5.485,0.802), (5.42,0.737,5.622,0.802), (5.557,0.737,5.622,0.802), (5.557,0.737,5.702,0.802), (5.637,0.737,5.702,0.802), (5.917,0.737,5.982,0.802), (5.917,0.737,5.982,0.802), (5.917,0.737,5.982,0.802), (5.917,0.737,6.12,0.802), (6.055,0.737,6.12,0.802), (6.055,0.737,6.12,0.802), (6.055,0.737,6.12,0.802), (6.055,0.737,6.307,0.802), (6.242,0.737,6.377,0.802), (6.242,0.737,6.307,0.802), (6.312,0.737,6.377,0.802), (6.312,0.737,6.47,0.802), (6.405,0.737,6.54,0.802), (6.475,0.737,6.54,0.802), (6.475,0.737,6.54,0.802), (6.95,0.737,7.085,0.802), (7.02,0.737,7.157,0.802), (7.092,0.737,7.157,0.802), (7.092,0.737,7.295,0.802), (7.23,0.737,7.295,0.802), (7.23,0.737,7.295,0.802), (7.23,0.737,7.295,0.802), (7.23,0.737,7.455,0.802), (7.39,0.737,7.455,0.802), (7.39,0.737,7.455,0.802), (7.39,0.737,7.455,0.802), (7.39,0.737,7.592,0.802), (7.527,0.737,7.592,0.802), (0.032,0.92,0.13,1.195), (0.255,0.92,0.32,1.195), (0.63,1.06,0.695,1.195), (0.037,1.087,0.102,1.152), (0.255,1.13,0.32,1.35), (0.63,1.13,0.695,1.35), (0.975,1.187,1.11,1.252), (1.045,1.187,1.11,1.35), (0,1.285,7.77,1.4)])
R(complex109, boundary, [(0,0,7.77,1.4)])
complex109.add(gdstk.Label('A', (0.56,0.77), layer=11, texttype=0))
complex109.add(gdstk.Label('B', (7.56,0.77), layer=11, texttype=0))
complex109.add(gdstk.Label('C', (5.95,0.77), layer=11, texttype=0))
complex109.add(gdstk.Label('D', (3.99,0.7), layer=11, texttype=0))
complex109.add(gdstk.Label('E', (5.67,0.77), layer=11, texttype=0))
complex109.add(gdstk.Label('F', (3.01,0.77), layer=11, texttype=0))
complex109.add(gdstk.Label('G', (1.33,0.77), layer=11, texttype=0))
complex109.add(gdstk.Label('H', (3.22,0.77), layer=11, texttype=0))
complex109.add(gdstk.Label('Y', (0.07,1.12), layer=11, texttype=0))
complex109.add(gdstk.Label('VCC', (0,1.4), layer=11, texttype=0))
complex109.add(gdstk.Label('GND', (0,0), layer=11, texttype=0))

lib.write_gds('COMPLEX109.gds')
